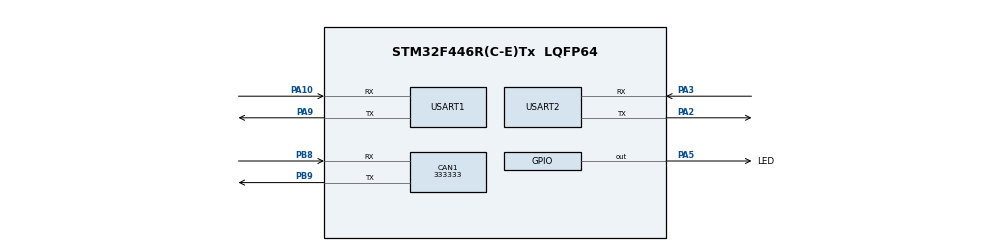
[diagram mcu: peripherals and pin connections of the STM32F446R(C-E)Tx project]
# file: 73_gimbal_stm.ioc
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CAN1.CalculateBaudRate=333333
CAN1.CalculateTimeBit=3000
CAN1.CalculateTimeQuantum=1000.0
Mcu.Family=STM32F4
Mcu.Name=STM32F446R(C-E)Tx
Mcu.Package=LQFP64
NVIC.PriorityGroup=NVIC_PRIORITYGROUP_4
NVIC.USART2_IRQn=true\:1\:0\:true\:false\:true\:true\:true\:true
PA10.Mode=Asynchronous
PA10.Signal=USART1_RX
PA2.Mode=Asynchronous
PA2.Signal=USART2_TX
PA3.Mode=Asynchronous
PA3.Signal=USART2_RX
PA5.GPIO_Label=LED
PA5.Signal=GPIO_Output
PA9.Mode=Asynchronous
PA9.Signal=USART1_TX
PB8.Mode=CAN_Activate
PB8.Signal=CAN1_RX
PB9.Mode=CAN_Activate
PB9.Signal=CAN1_TX
ProjectManager.HeapSize=0x200
ProjectManager.StackSize=0x400
ProjectManager.TargetToolchain=STM32CubeIDE
RCC.CortexFreq_Value=16000000
RCC.USBFreq_Value=96000000
RCC.VCOOutputFreq_Value=192000000
USART1.VirtualMode=VM_ASYNC
USART2.VirtualMode=VM_ASYNC
board=custom

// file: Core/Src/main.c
/* USER CODE BEGIN Header */
/**
  ******************************************************************************
  * @file           : main.c
  * @brief          : Main program body
  ******************************************************************************
  * @attention
  *
  * Copyright (c) 2024 STMicroelectronics.
  * All rights reserved.
  *
  * This software is licensed under terms that can be found in the LICENSE file
  * in the root directory of this software component.
  * If no LICENSE file comes with this software, it is provided AS-IS.
  *
  ******************************************************************************
  */
/* USER CODE END Header */
#include "main.h"

CAN_HandleTypeDef hcan1;

UART_HandleTypeDef huart1;
UART_HandleTypeDef huart2;

void SystemClock_Config(void);
static void MX_GPIO_Init(void);
static void MX_CAN1_Init(void);
static void MX_USART1_UART_Init(void);
static void MX_USART2_UART_Init(void);

int main(void)
{

  /* MCU Configuration--------------------------------------------------------*/

  /* Reset of all peripherals, Initializes the Flash interface and the Systick. */
  HAL_Init();

  /* USER CODE BEGIN Init */
  HAL_CAN_Start(&hcan1);
  /* USER CODE END Init */

  /* Configure the system clock */
  SystemClock_Config();

  /* Initialize all configured peripherals */
  MX_GPIO_Init();
  MX_CAN1_Init();
  MX_USART1_UART_Init();
  MX_USART2_UART_Init();
  /* USER CODE BEGIN 2 */
  HAL_CAN_Start(&hcan1);
  /* USER CODE END 2 */

  /* Infinite loop */
  while (1)
  {

    /* USER CODE BEGIN 3 */
    CAN_TxHeaderTypeDef TxHeader;
    uint32_t TxMailbox;
    uint8_t TxData[8];
    if(0 < HAL_CAN_GetTxMailboxesFreeLevel(&hcan1)){
      TxHeader.StdId = 0x555;                 // CAN ID
      TxHeader.RTR = CAN_RTR_DATA;            // フレームタイプはデータフレーム
      TxHeader.IDE = CAN_ID_STD;              // 標準ID(11ﾋﾞｯﾄ)
      TxHeader.DLC = 8;                       // データ長は8バイトに
      TxHeader.TransmitGlobalTime = DISABLE;  // ???
      TxData[0] = 0x11;
      TxData[1] = 0x22;
      TxData[2] = 0x33;
      TxData[3] = 0x44;
      TxData[4] = 0x55;
      TxData[5] = 0x66;
      TxData[6] = 0x77;
      TxData[7] = 0x88;
      HAL_CAN_AddTxMessage(&hcan1, &TxHeader, TxData, &TxMailbox);
    }
  }
  /* USER CODE END 3 */
}

void SystemClock_Config(void)
{
  RCC_OscInitTypeDef RCC_OscInitStruct = {0};
  RCC_ClkInitTypeDef RCC_ClkInitStruct = {0};

  /** Configure the main internal regulator output voltage
  */
  __HAL_RCC_PWR_CLK_ENABLE();
  __HAL_PWR_VOLTAGESCALING_CONFIG(PWR_REGULATOR_VOLTAGE_SCALE3);

  /** Initializes the RCC Oscillators according to the specified parameters
  * in the RCC_OscInitTypeDef structure.
  */
  RCC_OscInitStruct.OscillatorType = RCC_OSCILLATORTYPE_HSI;
  RCC_OscInitStruct.HSIState = RCC_HSI_ON;
  RCC_OscInitStruct.HSICalibrationValue = RCC_HSICALIBRATION_DEFAULT;
  RCC_OscInitStruct.PLL.PLLState = RCC_PLL_NONE;
  if (HAL_RCC_OscConfig(&RCC_OscInitStruct) != HAL_OK)
  {
    Error_Handler();
  }

  /** Initializes the CPU, AHB and APB buses clocks
  */
  RCC_ClkInitStruct.ClockType = RCC_CLOCKTYPE_HCLK|RCC_CLOCKTYPE_SYSCLK
                              |RCC_CLOCKTYPE_PCLK1|RCC_CLOCKTYPE_PCLK2;
  RCC_ClkInitStruct.SYSCLKSource = RCC_SYSCLKSOURCE_HSI;
  RCC_ClkInitStruct.AHBCLKDivider = RCC_SYSCLK_DIV1;
  RCC_ClkInitStruct.APB1CLKDivider = RCC_HCLK_DIV1;
  RCC_ClkInitStruct.APB2CLKDivider = RCC_HCLK_DIV1;

  if (HAL_RCC_ClockConfig(&RCC_ClkInitStruct, FLASH_LATENCY_0) != HAL_OK)
  {
    Error_Handler();
  }
}

static void MX_CAN1_Init(void)
{

  hcan1.Instance = CAN1;
  hcan1.Init.Prescaler = 16;
  hcan1.Init.Mode = CAN_MODE_NORMAL;
  hcan1.Init.SyncJumpWidth = CAN_SJW_1TQ;
  hcan1.Init.TimeSeg1 = CAN_BS1_1TQ;
  hcan1.Init.TimeSeg2 = CAN_BS2_1TQ;
  hcan1.Init.TimeTriggeredMode = DISABLE;
  hcan1.Init.AutoBusOff = DISABLE;
  hcan1.Init.AutoWakeUp = DISABLE;
  hcan1.Init.AutoRetransmission = DISABLE;
  hcan1.Init.ReceiveFifoLocked = DISABLE;
  hcan1.Init.TransmitFifoPriority = DISABLE;
  if (HAL_CAN_Init(&hcan1) != HAL_OK)
  {
    Error_Handler();
  }

}

static void MX_USART1_UART_Init(void)
{

  huart1.Instance = USART1;
  huart1.Init.BaudRate = 115200;
  huart1.Init.WordLength = UART_WORDLENGTH_8B;
  huart1.Init.StopBits = UART_STOPBITS_1;
  huart1.Init.Parity = UART_PARITY_NONE;
  huart1.Init.Mode = UART_MODE_TX_RX;
  huart1.Init.HwFlowCtl = UART_HWCONTROL_NONE;
  huart1.Init.OverSampling = UART_OVERSAMPLING_16;
  if (HAL_UART_Init(&huart1) != HAL_OK)
  {
    Error_Handler();
  }

}

static void MX_USART2_UART_Init(void)
{

  huart2.Instance = USART2;
  huart2.Init.BaudRate = 115200;
  huart2.Init.WordLength = UART_WORDLENGTH_8B;
  huart2.Init.StopBits = UART_STOPBITS_1;
  huart2.Init.Parity = UART_PARITY_NONE;
  huart2.Init.Mode = UART_MODE_TX_RX;
  huart2.Init.HwFlowCtl = UART_HWCONTROL_NONE;
  huart2.Init.OverSampling = UART_OVERSAMPLING_16;
  if (HAL_UART_Init(&huart2) != HAL_OK)
  {
    Error_Handler();
  }

}

static void MX_GPIO_Init(void)
{
  GPIO_InitTypeDef GPIO_InitStruct = {0};

  /* GPIO Ports Clock Enable */
  __HAL_RCC_GPIOA_CLK_ENABLE();
  __HAL_RCC_GPIOB_CLK_ENABLE();

  /*Configure GPIO pin Output Level */
  HAL_GPIO_WritePin(LED_GPIO_Port, LED_Pin, GPIO_PIN_RESET);

  /*Configure GPIO pin : LED_Pin */
  GPIO_InitStruct.Pin = LED_Pin;
  GPIO_InitStruct.Mode = GPIO_MODE_OUTPUT_PP;
  GPIO_InitStruct.Pull = GPIO_NOPULL;
  GPIO_InitStruct.Speed = GPIO_SPEED_FREQ_LOW;
  HAL_GPIO_Init(LED_GPIO_Port, &GPIO_InitStruct);

}

void Error_Handler(void)
{
  __disable_irq();
  while (1)
  {
  }
}
